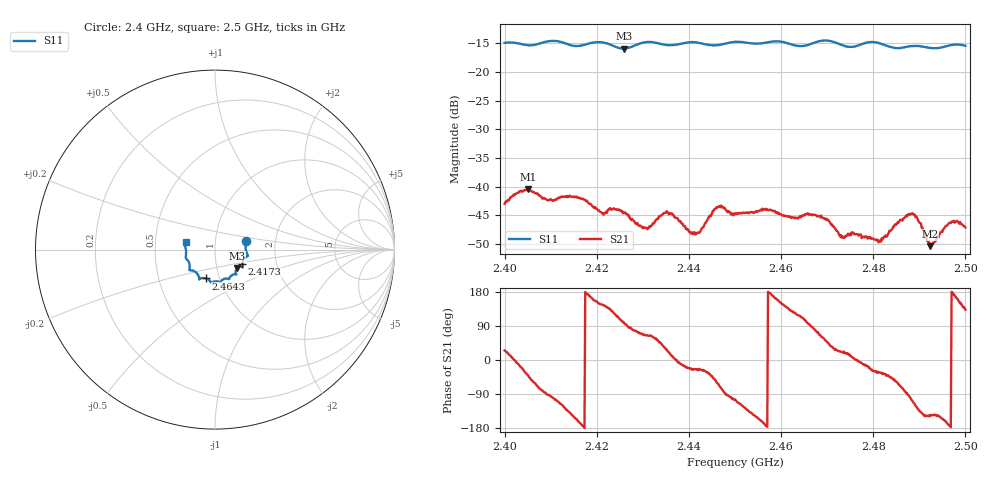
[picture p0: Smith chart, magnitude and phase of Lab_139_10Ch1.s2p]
# Hz S RI R 50
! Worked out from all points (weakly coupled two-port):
!   601 points, 2.4 GHz to 2.5 GHz, reference 50 ohm
!   highest |S21| = -40.47 dB at 2.4052 GHz (marker M1); lowest = -50.4 dB at 2.4923 GHz (marker M2)
!   lowest |S11| = -15.9 dB at 2.4258 GHz (marker M3), VSWR 1.38, Z = 62.3 - j13.3 ohm
!   |S11| at or under -10 dB: start of sweep to end of sweep
!   S12 and S22 are empty: the file has one direction only
!   S11 on the Smith chart (normalised r, x): 2.4 GHz: 1.41, +0.14; 2.4173 GHz: 1.34, -0.23; 2.4643 GHz: 0.86, -0.28; 2.5 GHz: 0.72, +0.06
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2.4e9  0.173 0.0488  0.00641 0.00302  0 0  0 0
2.405167e9  0.1705 0.012  0.00698 -0.00639  0 0  0 0
2.409333e9  0.1825 -0.0306  -0.000217 -0.00756  0 0  0 0
2.416667e9  0.1528 -0.0749  -0.00776 -0.00135  0 0  0 0
2.417333e9  0.1518 -0.0822  -0.0077 -7.08e-05  0 0  0 0
2.421167e9  0.1537 -0.0963  -0.00484 0.00326  0 0  0 0
2.425833e9  0.1219 -0.1036  -0.00103 0.00583  0 0  0 0
2.4305e9  0.1186 -0.1377  0.00186 0.00397  0 0  0 0
2.433333e9  0.1127 -0.1373  0.00329 0.00404  0 0  0 0
2.435667e9  0.0966 -0.1415  0.00539 0.00192  0 0  0 0
2.441333e9  0.0766 -0.1646  0.0035 -0.00154  0 0  0 0
2.446167e9  0.0462 -0.1653  0.00315 -0.00576  0 0  0 0
2.45e9  0.0295 -0.1809  -0.00141 -0.00567  0 0  0 0
2.464333e9  -0.0498 -0.1605  -0.00214 0.00495  0 0  0 0
2.466667e9  -0.0759 -0.1595  0.000211 0.00572  0 0  0 0
2.473333e9  -0.0932 -0.1433  0.00345 0.00129  0 0  0 0
2.481167e9  -0.1427 -0.1082  0.00273 -0.00178  0 0  0 0
2.483333e9  -0.141 -0.0895  0.00294 -0.00256  0 0  0 0
2.4885e9  -0.1617 -0.0479  -0.00179 -0.00557  0 0  0 0
2.492333e9  -0.1609 -0.0218  -0.00247 -0.00174  0 0  0 0
2.497e9  -0.17 0.0269  -0.00494 1.17e-05  0 0  0 0
2.5e9  -0.164 0.0426  -0.00299 0.00323  0 0  0 0
